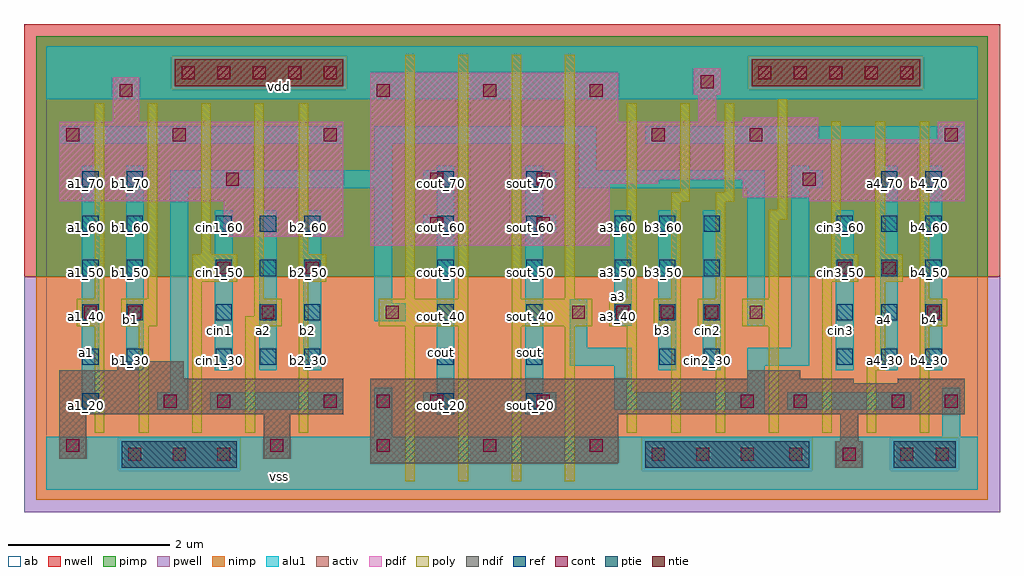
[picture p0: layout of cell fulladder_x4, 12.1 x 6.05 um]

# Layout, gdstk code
import gdstk
lib = gdstk.Library(unit=1e-6, precision=2.5e-09)
def R(c, l, rs):  # rectangles x0, y0, x1, y1
    for r in rs: c.add(gdstk.rectangle(r[:2], r[2:], *l))
def A(c, l, x, y, w, h, nx, ny, dx, dy):  # array of equal rectangles
    R(c, l, [(x+i*dx, y+j*dy, x+i*dx+w, y+j*dy+h) for i in range(nx) for j in range(ny)])
ndif = (3, 0)
pdif = (4, 0)
ntie = (5, 0)
ptie = (6, 0)
ref = (24, 0)
cont = (25, 0)
pwell = (41, 0)
nwell = (42, 0)
activ = (43, 0)
pimp = (44, 0)
nimp = (45, 0)
poly = (46, 0)
alu1 = (49, 0)
ab = (63, 0)

fulladder_x4 = lib.new_cell('fulladder_x4')
R(fulladder_x4, ndif, [(9.79,0.275,10.12,0.605), (4.015,0.33,7.095,0.935), (0.165,0.385,0.495,0.935), (2.695,0.385,3.025,0.935), (9.845,0.605,10.065,0.935), (0.165,0.935,3.685,1.375), (4.015,0.935,11.385,1.32), (4.015,1.32,10.01,1.375), (10.56,1.32,11.385,1.375), (0.165,1.375,1.705,1.485), (8.69,1.375,9.35,1.485), (0.88,1.485,1.705,1.595)])
R(fulladder_x4, pdif, [(4.015,3.025,6.985,3.795), (2.2,3.135,3.685,3.575), (0.165,3.575,3.685,4.565), (9.46,3.575,11.385,3.63), (8.635,3.63,11.385,3.85), (4.015,3.795,7.59,3.85), (4.015,3.85,11.385,4.345), (4.015,4.345,9.57,4.565), (11.055,4.345,11.385,4.565), (0.825,4.565,1.155,5.115), (4.015,4.565,7.095,5.17), (8.085,4.565,8.305,4.895), (8.635,4.565,9.57,4.62), (8.03,4.895,8.36,5.225)])
R(fulladder_x4, ntie, [(1.595,5.005,3.685,5.335), (8.745,5.005,10.835,5.335)])
R(fulladder_x4, ptie, [(0.935,0.275,2.365,0.605), (7.425,0.275,9.46,0.605), (10.505,0.275,11.275,0.605)])
A(fulladder_x4, ref, 0.45, 1, 0.2, 0.2, 1, 6, 0, 0.55)
A(fulladder_x4, ref, 1, 1.55, 0.2, 0.2, 1, 5, 0, 0.55)
A(fulladder_x4, ref, 2.1, 1.55, 0.2, 0.2, 3, 4, 0.55, 0.55)
A(fulladder_x4, ref, 7.6, 1.55, 0.2, 0.2, 1, 4, 0, 0.55)
A(fulladder_x4, ref, 8.15, 1.55, 0.2, 0.2, 1, 4, 0, 0.55)
A(fulladder_x4, ref, 9.8, 1.55, 0.2, 0.2, 3, 4, 0.55, 0.55)
A(fulladder_x4, ref, 4.85, 2.1, 0.2, 0.2, 3, 3, 1.1, 0.55)
R(fulladder_x4, ref, [(4.85,1,5.05,1.2), (5.95,1,6.15,1.2), (4.85,1.55,5.05,1.75), (5.95,1.55,6.15,1.75), (4.85,3.75,5.05,3.95), (5.95,3.75,6.15,3.95), (10.35,3.75,10.55,3.95), (10.9,3.75,11.1,3.95)])
A(fulladder_x4, cont, 1.02, 0.36, 0.16, 0.16, 3, 1, 0.55, 0)
A(fulladder_x4, cont, 7.51, 0.36, 0.16, 0.16, 3, 1, 0.55, 0)
A(fulladder_x4, cont, 2.78, 0.47, 0.16, 0.16, 4, 1, 1.32, 0)
A(fulladder_x4, cont, 3.44, 1.02, 0.16, 0.16, 3, 1, 0.66, 0)
A(fulladder_x4, cont, 6.52, 2.12, 0.16, 0.16, 5, 1, 0.55, 0)
A(fulladder_x4, cont, 4.1, 4.87, 0.16, 0.16, 3, 1, 1.32, 0)
A(fulladder_x4, cont, 1.68, 5.09, 0.16, 0.16, 5, 1, 0.44, 0)
A(fulladder_x4, cont, 8.83, 5.09, 0.16, 0.16, 5, 1, 0.44, 0)
R(fulladder_x4, cont, [(9.215,0.36,9.375,0.52), (9.875,0.36,10.035,0.52), (10.59,0.36,10.75,0.52), (11.03,0.36,11.19,0.52), (0.25,0.47,0.41,0.63), (1.46,1.02,1.62,1.18), (2.12,1.02,2.28,1.18), (6.08,1.02,6.24,1.18), (8.61,1.02,8.77,1.18), (9.27,1.02,9.43,1.18), (10.48,1.02,10.64,1.18), (11.14,1.02,11.3,1.18), (0.47,2.12,0.63,2.28), (1.02,2.12,1.18,2.28), (2.67,2.12,2.83,2.28), (4.21,2.12,4.37,2.28), (10.92,2.12,11.08,2.28), (2.12,2.67,2.28,2.83), (3.22,2.67,3.38,2.83), (9.82,2.67,9.98,2.83), (10.37,2.67,10.53,2.83), (4.76,3.22,4.92,3.38), (6.08,3.22,6.24,3.38), (2.23,3.77,2.39,3.93), (4.76,3.77,4.92,3.93), (6.08,3.77,6.24,3.93), (9.38,3.77,9.54,3.93), (0.25,4.32,0.41,4.48), (1.57,4.32,1.73,4.48), (3.44,4.32,3.6,4.48), (7.51,4.32,7.67,4.48), (8.72,4.32,8.88,4.48), (11.14,4.32,11.3,4.48), (0.91,4.87,1.07,5.03), (8.115,4.98,8.275,5.14)])
R(fulladder_x4, pwell, [(-0.275,-0.275,11.825,2.64)])
R(fulladder_x4, nwell, [(-0.275,2.64,11.825,5.775)])
R(fulladder_x4, activ, [(0.935,0.275,2.365,0.605), (7.425,0.275,9.46,0.605), (9.79,0.275,10.12,0.605), (10.505,0.275,11.275,0.605), (4.015,0.33,7.095,0.935), (0.165,0.385,0.495,0.935), (2.695,0.385,3.025,0.935), (9.845,0.605,10.065,0.935), (0.165,0.935,3.685,1.375), (4.015,0.935,11.385,1.32), (4.015,1.32,10.01,1.375), (10.56,1.32,11.385,1.375), (0.165,1.375,1.705,1.485), (8.69,1.375,9.35,1.485), (0.88,1.485,1.705,1.595), (4.015,3.025,6.985,3.795), (2.2,3.135,3.685,3.575), (0.165,3.575,3.685,4.565), (9.46,3.575,11.385,3.63), (8.635,3.63,11.385,3.85), (4.015,3.795,7.59,3.85), (4.015,3.85,11.385,4.345), (4.015,4.345,9.57,4.565), (11.055,4.345,11.385,4.565), (0.825,4.565,1.155,5.115), (4.015,4.565,7.095,5.17), (8.085,4.565,8.305,4.895), (8.635,4.565,9.57,4.62), (8.03,4.895,8.36,5.225), (1.595,5.005,3.685,5.335), (8.745,5.005,10.835,5.335)])
R(fulladder_x4, pimp, [(0.895,0.235,2.405,0.645), (7.385,0.235,9.5,0.645), (10.465,0.235,11.315,0.645), (-0.125,2.64,11.675,4.965), (-0.125,4.965,1.555,5.375), (3.725,4.965,8.705,5.375), (10.875,4.965,11.675,5.375), (-0.125,5.375,11.675,5.625)])
R(fulladder_x4, nimp, [(-0.125,-0.125,11.675,0.235), (-0.125,0.235,0.895,0.645), (2.405,0.235,7.385,0.645), (9.5,0.235,10.465,0.645), (11.315,0.235,11.675,0.645), (-0.125,0.645,11.675,2.64), (1.555,4.965,3.725,5.375), (8.705,4.965,10.875,5.375)])
A(fulladder_x4, poly, 4.45, 0.105, 0.12, 1.925, 4, 1, 0.66, 0)
A(fulladder_x4, poly, 7.2, 0.71, 0.12, 1.32, 3, 1, 0.55, 0)
A(fulladder_x4, poly, 6.98, 2.03, 0.34, 0.34, 3, 1, 0.55, 0)
A(fulladder_x4, poly, 4.45, 2.37, 0.12, 3.025, 4, 1, 0.66, 0)
R(fulladder_x4, poly, [(0.6,0.71,0.72,2.03), (1.15,0.71,1.27,2.03), (1.81,0.71,1.93,2.58), (2.47,0.71,2.59,2.03), (3.13,0.71,3.25,2.58), (8.96,0.71,9.08,2.03), (9.62,0.71,9.74,2.58), (10.17,0.71,10.29,1.48), (10.83,0.71,10.95,2.03), (10.17,1.48,10.4,1.6), (10.28,1.6,10.4,2.58), (0.38,2.03,0.72,2.37), (0.93,2.03,1.38,2.37), (2.47,2.03,2.92,2.15), (4.12,2.03,5.23,2.37), (5.77,2.03,6.77,2.37), (8.63,2.03,9.08,2.37), (10.83,2.03,11.17,2.37), (2.58,2.15,2.92,2.37), (0.6,2.37,0.72,4.79), (1.26,2.37,1.38,4.79), (2.58,2.37,2.7,4.79), (7.2,2.37,7.32,4.79), (7.75,2.37,7.87,3.57), (8.3,2.37,8.42,3.57), (8.96,2.37,9.08,3.35), (10.83,2.37,10.95,4.57), (1.81,2.58,2.37,2.92), (3.13,2.58,3.47,2.92), (9.62,2.58,10.07,2.7), (10.28,2.58,10.62,2.92), (9.73,2.7,10.07,2.92), (1.92,2.92,2.04,4.79), (3.13,2.92,3.25,4.79), (9.73,2.92,9.85,4.57), (10.28,2.92,10.4,4.57), (8.96,3.35,9.19,3.47), (9.07,3.47,9.19,4.845), (7.75,3.57,7.98,3.69), (8.3,3.57,8.53,3.69), (7.86,3.69,7.98,4.79), (8.41,3.69,8.53,4.79)])
A(fulladder_x4, alu1, 2.09, 1.485, 0.22, 1.98, 3, 1, 0.55, 0)
R(fulladder_x4, alu1, [(0,0,11.55,0.66), (4.07,0.66,4.29,1.265), (11.11,0.66,11.33,1.265), (0.44,0.935,0.66,4.015), (4.84,0.935,5.06,0.99), (5.94,0.935,6.16,0.99), (8.69,0.935,8.91,0.99), (1.375,0.99,1.76,1.21), (2.035,0.99,3.685,1.21), (4.675,0.99,5.06,1.21), (5.94,0.99,6.325,1.21), (7.04,0.99,8.91,1.21), (9.185,0.99,10.725,1.21), (1.54,1.21,1.76,3.74), (4.84,1.21,5.06,3.19), (5.94,1.21,6.16,3.19), (7.04,1.21,7.26,1.54), (8.69,1.21,8.91,1.54), (0.99,1.485,1.21,4.015), (7.59,1.485,7.81,3.465), (8.14,1.485,8.36,3.465), (9.79,1.485,10.01,3.465), (10.34,1.485,10.56,4.015), (10.89,1.485,11.11,4.015), (6.49,1.54,7.26,1.76), (8.69,1.54,9.46,1.76), (6.49,1.76,6.71,2.365), (9.24,1.76,9.46,3.74), (7.04,2.035,7.26,3.465), (8.69,2.035,8.91,3.74), (4.07,2.09,4.455,2.31), (4.07,2.31,4.29,3.74), (4.675,3.19,5.06,3.41), (5.94,3.19,6.325,3.41), (4.84,3.41,5.06,3.74), (5.94,3.41,6.16,3.74), (1.54,3.74,4.29,3.96), (4.675,3.74,5.06,3.96), (5.94,3.74,6.325,3.96), (6.6,3.74,8.91,3.96), (9.24,3.74,9.625,3.96), (4.07,3.96,4.29,4.29), (4.84,3.96,5.06,4.015), (5.94,3.96,6.16,4.015), (6.6,3.96,6.82,4.29), (9.24,3.96,9.46,4.015), (0.165,4.29,3.685,4.51), (4.07,4.29,6.82,4.51), (7.425,4.29,11.385,4.51), (0,4.84,11.55,5.5)])
R(fulladder_x4, ab, [(0,0,11.55,5.5)])
fulladder_x4.add(gdstk.Label('vss', (2.8875,0.165), layer=49, texttype=0))
fulladder_x4.add(gdstk.Label('b4', (10.945,2.1175), layer=49, texttype=0))
fulladder_x4.add(gdstk.Label('a4', (10.395,2.1175), layer=49, texttype=0))
fulladder_x4.add(gdstk.Label('cin3', (9.845,1.98), layer=49, texttype=0))
fulladder_x4.add(gdstk.Label('cin2', (8.195,1.98), layer=49, texttype=0))
fulladder_x4.add(gdstk.Label('b3', (7.645,1.98), layer=49, texttype=0))
fulladder_x4.add(gdstk.Label('a3', (7.095,2.3925), layer=49, texttype=0))
fulladder_x4.add(gdstk.Label('sout', (5.995,1.705), layer=49, texttype=0))
fulladder_x4.add(gdstk.Label('cout', (4.895,1.705), layer=49, texttype=0))
fulladder_x4.add(gdstk.Label('b2', (3.245,1.98), layer=49, texttype=0))
fulladder_x4.add(gdstk.Label('a2', (2.695,1.98), layer=49, texttype=0))
fulladder_x4.add(gdstk.Label('cin1', (2.145,1.98), layer=49, texttype=0))
fulladder_x4.add(gdstk.Label('b1', (1.045,2.1175), layer=49, texttype=0))
fulladder_x4.add(gdstk.Label('a1', (0.495,1.705), layer=49, texttype=0))
fulladder_x4.add(gdstk.Label('vdd', (2.8875,5.005), layer=49, texttype=0))
fulladder_x4.add(gdstk.Label('a1_30', (0.5,1.6), layer=24, texttype=0))
fulladder_x4.add(gdstk.Label('a1_40', (0.5,2.15), layer=24, texttype=0))
fulladder_x4.add(gdstk.Label('a1_50', (0.5,2.7), layer=24, texttype=0))
fulladder_x4.add(gdstk.Label('a1_60', (0.5,3.25), layer=24, texttype=0))
fulladder_x4.add(gdstk.Label('b1_30', (1.05,1.6), layer=24, texttype=0))
fulladder_x4.add(gdstk.Label('b1_40', (1.05,2.15), layer=24, texttype=0))
fulladder_x4.add(gdstk.Label('b1_50', (1.05,2.7), layer=24, texttype=0))
fulladder_x4.add(gdstk.Label('b1_60', (1.05,3.25), layer=24, texttype=0))
fulladder_x4.add(gdstk.Label('cin1_30', (2.15,1.6), layer=24, texttype=0))
fulladder_x4.add(gdstk.Label('cin1_40', (2.15,2.15), layer=24, texttype=0))
fulladder_x4.add(gdstk.Label('cin1_50', (2.15,2.7), layer=24, texttype=0))
fulladder_x4.add(gdstk.Label('cin1_60', (2.15,3.25), layer=24, texttype=0))
fulladder_x4.add(gdstk.Label('a2_30', (2.7,1.6), layer=24, texttype=0))
fulladder_x4.add(gdstk.Label('a2_40', (2.7,2.15), layer=24, texttype=0))
fulladder_x4.add(gdstk.Label('a2_50', (2.7,2.7), layer=24, texttype=0))
fulladder_x4.add(gdstk.Label('a2_60', (2.7,3.25), layer=24, texttype=0))
fulladder_x4.add(gdstk.Label('b2_30', (3.25,1.6), layer=24, texttype=0))
fulladder_x4.add(gdstk.Label('b2_40', (3.25,2.15), layer=24, texttype=0))
fulladder_x4.add(gdstk.Label('b2_50', (3.25,2.7), layer=24, texttype=0))
fulladder_x4.add(gdstk.Label('b2_60', (3.25,3.25), layer=24, texttype=0))
fulladder_x4.add(gdstk.Label('a1_20', (0.5,1.05), layer=24, texttype=0))
fulladder_x4.add(gdstk.Label('a1_70', (0.5,3.8), layer=24, texttype=0))
fulladder_x4.add(gdstk.Label('b1_70', (1.05,3.8), layer=24, texttype=0))
fulladder_x4.add(gdstk.Label('sout_30', (6,1.6), layer=24, texttype=0))
fulladder_x4.add(gdstk.Label('sout_20', (6,1.05), layer=24, texttype=0))
fulladder_x4.add(gdstk.Label('sout_70', (6,3.8), layer=24, texttype=0))
fulladder_x4.add(gdstk.Label('sout_60', (6,3.25), layer=24, texttype=0))
fulladder_x4.add(gdstk.Label('sout_50', (6,2.7), layer=24, texttype=0))
fulladder_x4.add(gdstk.Label('sout_40', (6,2.15), layer=24, texttype=0))
fulladder_x4.add(gdstk.Label('b4_60', (10.95,3.25), layer=24, texttype=0))
fulladder_x4.add(gdstk.Label('a4_70', (10.4,3.8), layer=24, texttype=0))
fulladder_x4.add(gdstk.Label('cin3_50', (9.85,2.7), layer=24, texttype=0))
fulladder_x4.add(gdstk.Label('cin3_60', (9.85,3.25), layer=24, texttype=0))
fulladder_x4.add(gdstk.Label('a4_30', (10.4,1.6), layer=24, texttype=0))
fulladder_x4.add(gdstk.Label('a4_40', (10.4,2.15), layer=24, texttype=0))
fulladder_x4.add(gdstk.Label('a4_50', (10.4,2.7), layer=24, texttype=0))
fulladder_x4.add(gdstk.Label('a4_60', (10.4,3.25), layer=24, texttype=0))
fulladder_x4.add(gdstk.Label('b4_40', (10.95,2.15), layer=24, texttype=0))
fulladder_x4.add(gdstk.Label('b4_50', (10.95,2.7), layer=24, texttype=0))
fulladder_x4.add(gdstk.Label('b3_50', (7.65,2.7), layer=24, texttype=0))
fulladder_x4.add(gdstk.Label('b3_60', (7.65,3.25), layer=24, texttype=0))
fulladder_x4.add(gdstk.Label('cin2_30', (8.2,1.6), layer=24, texttype=0))
fulladder_x4.add(gdstk.Label('cin2_40', (8.2,2.15), layer=24, texttype=0))
fulladder_x4.add(gdstk.Label('cin2_50', (8.2,2.7), layer=24, texttype=0))
fulladder_x4.add(gdstk.Label('cin2_60', (8.2,3.25), layer=24, texttype=0))
fulladder_x4.add(gdstk.Label('b4_70', (10.95,3.8), layer=24, texttype=0))
fulladder_x4.add(gdstk.Label('cin3_40', (9.85,2.15), layer=24, texttype=0))
fulladder_x4.add(gdstk.Label('b3_30', (7.65,1.6), layer=24, texttype=0))
fulladder_x4.add(gdstk.Label('cin3_30', (9.85,1.6), layer=24, texttype=0))
fulladder_x4.add(gdstk.Label('a3_40', (7.1,2.15), layer=24, texttype=0))
fulladder_x4.add(gdstk.Label('a3_50', (7.1,2.7), layer=24, texttype=0))
fulladder_x4.add(gdstk.Label('a3_60', (7.1,3.25), layer=24, texttype=0))
fulladder_x4.add(gdstk.Label('b4_30', (10.95,1.6), layer=24, texttype=0))
fulladder_x4.add(gdstk.Label('b3_40', (7.65,2.15), layer=24, texttype=0))
fulladder_x4.add(gdstk.Label('cout_30', (4.9,1.6), layer=24, texttype=0))
fulladder_x4.add(gdstk.Label('cout_40', (4.9,2.15), layer=24, texttype=0))
fulladder_x4.add(gdstk.Label('cout_50', (4.9,2.7), layer=24, texttype=0))
fulladder_x4.add(gdstk.Label('cout_60', (4.9,3.25), layer=24, texttype=0))
fulladder_x4.add(gdstk.Label('cout_20', (4.9,1.05), layer=24, texttype=0))
fulladder_x4.add(gdstk.Label('cout_70', (4.9,3.8), layer=24, texttype=0))

lib.write_gds('fulladder_x4.gds')
